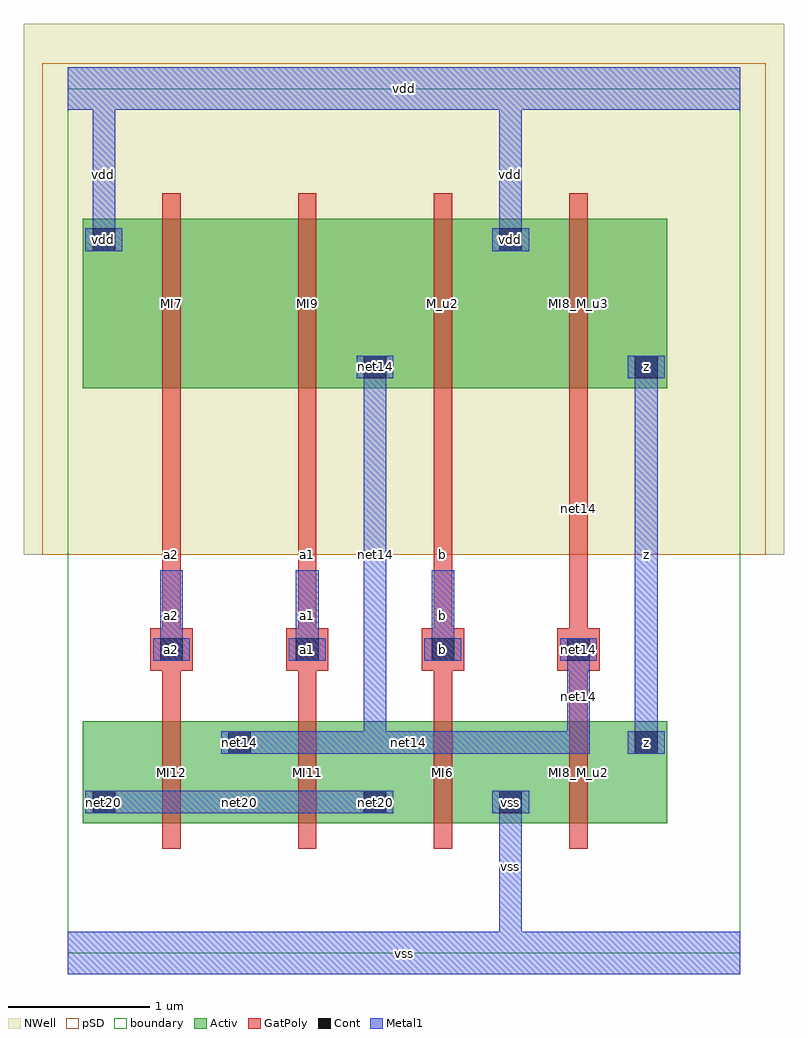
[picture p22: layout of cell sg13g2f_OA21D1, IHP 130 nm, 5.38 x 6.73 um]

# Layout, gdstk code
import gdstk
lib = gdstk.Library(unit=1e-6, precision=1e-09)
def R(c, l, rs):  # rectangles x0, y0, x1, y1
    for r in rs: c.add(gdstk.rectangle(r[:2], r[2:], *l))
def A(c, l, x, y, w, h, nx, ny, dx, dy):  # array of equal rectangles
    R(c, l, [(x+i*dx, y+j*dy, x+i*dx+w, y+j*dy+h) for i in range(nx) for j in range(ny)])
Activ = (1, 0)
GatPoly = (5, 0)
Cont = (6, 0)
Metal1 = (8, 0)
pSD = (14, 0)
NWell = (31, 0)
TEXT = (63, 0)
boundary = (189, 4)

sg13g2f_oa21d1 = lib.new_cell('sg13g2f_OA21D1')
A(sg13g2f_oa21d1, Activ, 0.105, 0.92, 1.26, 0.72, 4, 1, 0.96, 0)
A(sg13g2f_oa21d1, Activ, 0.105, 4, 1.26, 1.2, 4, 1, 0.96, 0)
R(sg13g2f_oa21d1, Activ, [(0.105,0.92,0.405,1.22), (2.025,0.92,2.325,1.22), (2.985,0.92,3.285,1.22), (1.065,1.34,1.365,1.64), (3.945,1.34,4.245,1.64), (2.025,4,2.325,4.3), (3.945,4,4.245,4.3), (0.105,4.9,0.405,5.2), (2.985,4.9,3.285,5.2)])
A(sg13g2f_oa21d1, GatPoly, 0.67, 0.74, 0.13, 1.08, 4, 1, 0.96, 0)
A(sg13g2f_oa21d1, GatPoly, 0.67, 1.425, 0.13, 2.79, 3, 1, 0.96, 0)
A(sg13g2f_oa21d1, GatPoly, 0.585, 2, 0.3, 0.3, 4, 1, 0.96, 0)
A(sg13g2f_oa21d1, GatPoly, 0.67, 3.82, 0.13, 1.56, 4, 1, 0.96, 0)
R(sg13g2f_oa21d1, GatPoly, [(3.55,1.425,3.68,2.215), (3.55,2.085,3.68,4.215)])
A(sg13g2f_oa21d1, Cont, 0.655, 2.07, 0.16, 0.16, 4, 1, 0.96, 0)
R(sg13g2f_oa21d1, Cont, [(0.175,0.99,0.335,1.15), (2.095,0.99,2.255,1.15), (3.055,0.99,3.215,1.15), (1.135,1.41,1.295,1.57), (4.015,1.41,4.175,1.57), (2.095,4.07,2.255,4.23), (4.015,4.07,4.175,4.23), (0.175,4.97,0.335,5.13), (3.055,4.97,3.215,5.13)])
A(sg13g2f_oa21d1, Metal1, 0.605, 2.07, 0.26, 0.16, 4, 1, 0.96, 0)
A(sg13g2f_oa21d1, Metal1, 0.655, 2.07, 0.16, 0.64, 3, 1, 0.96, 0)
R(sg13g2f_oa21d1, Metal1, [(0,-0.15,4.76,0.15), (3.055,0.07,3.215,1.15), (0.125,0.99,0.385,1.15), (0.175,0.99,2.255,1.15), (2.045,0.99,2.305,1.15), (3.005,0.99,3.265,1.15), (1.085,1.41,1.345,1.57), (1.135,1.41,3.695,1.57), (2.095,1.41,2.255,4.23), (3.535,1.41,3.695,2.23), (3.965,1.41,4.225,1.57), (4.015,1.41,4.175,4.23), (2.045,4.07,2.305,4.23), (3.965,4.07,4.225,4.23), (0.125,4.97,0.385,5.13), (0.175,4.97,0.335,6.05), (3.005,4.97,3.265,5.13), (3.055,4.97,3.215,6.05), (0,5.97,4.76,6.27)])
R(sg13g2f_oa21d1, pSD, [(-0.18,2.82,4.94,5.94), (-0.18,5.94,4.94,6.3)])
R(sg13g2f_oa21d1, NWell, [(-0.31,2.82,5.07,6.58)])
R(sg13g2f_oa21d1, boundary, [(0,0,4.76,6.12)])
sg13g2f_oa21d1.add(gdstk.FlexPath([(0.105,0.41),(4.245,0.41)], 0, ends="flush", simple_path=True, layer=63, datatype=0))  # TEXT
sg13g2f_oa21d1.add(gdstk.FlexPath([(0.105,1.07),(4.245,1.07)], 0, ends="flush", simple_path=True, layer=63, datatype=0))  # TEXT
sg13g2f_oa21d1.add(gdstk.FlexPath([(0.105,1.49),(4.245,1.49)], 0, ends="flush", simple_path=True, layer=63, datatype=0))  # TEXT
sg13g2f_oa21d1.add(gdstk.FlexPath([(0.105,2.15),(4.245,2.15)], 0, ends="flush", simple_path=True, layer=63, datatype=0))  # TEXT
sg13g2f_oa21d1.add(gdstk.FlexPath([(0.105,2.63),(4.245,2.63)], 0, ends="flush", simple_path=True, layer=63, datatype=0))  # TEXT
sg13g2f_oa21d1.add(gdstk.FlexPath([(0.105,3.11),(4.245,3.11)], 0, ends="flush", simple_path=True, layer=63, datatype=0))  # TEXT
sg13g2f_oa21d1.add(gdstk.FlexPath([(0.105,4.15),(4.245,4.15)], 0, ends="flush", simple_path=True, layer=63, datatype=0))  # TEXT
sg13g2f_oa21d1.add(gdstk.FlexPath([(0.105,4.71),(4.245,4.71)], 0, ends="flush", simple_path=True, layer=63, datatype=0))  # TEXT
sg13g2f_oa21d1.add(gdstk.FlexPath([(0.105,5.05),(4.245,5.05)], 0, ends="flush", simple_path=True, layer=63, datatype=0))  # TEXT
sg13g2f_oa21d1.add(gdstk.FlexPath([(0.105,5.71),(4.245,5.71)], 0, ends="flush", simple_path=True, layer=63, datatype=0))  # TEXT
sg13g2f_oa21d1.add(gdstk.FlexPath([(0.255,0.07),(0.255,6.05)], 0, ends="flush", simple_path=True, layer=63, datatype=0))  # TEXT
sg13g2f_oa21d1.add(gdstk.FlexPath([(0.735,0.07),(0.735,6.05)], 0, ends="flush", simple_path=True, layer=63, datatype=0))  # TEXT
sg13g2f_oa21d1.add(gdstk.FlexPath([(1.215,0.07),(1.215,6.05)], 0, ends="flush", simple_path=True, layer=63, datatype=0))  # TEXT
sg13g2f_oa21d1.add(gdstk.FlexPath([(1.695,0.07),(1.695,6.05)], 0, ends="flush", simple_path=True, layer=63, datatype=0))  # TEXT
sg13g2f_oa21d1.add(gdstk.FlexPath([(2.175,0.07),(2.175,6.05)], 0, ends="flush", simple_path=True, layer=63, datatype=0))  # TEXT
sg13g2f_oa21d1.add(gdstk.FlexPath([(2.655,0.07),(2.655,6.05)], 0, ends="flush", simple_path=True, layer=63, datatype=0))  # TEXT
sg13g2f_oa21d1.add(gdstk.FlexPath([(3.135,0.07),(3.135,6.05)], 0, ends="flush", simple_path=True, layer=63, datatype=0))  # TEXT
sg13g2f_oa21d1.add(gdstk.FlexPath([(3.615,0.07),(3.615,6.05)], 0, ends="flush", simple_path=True, layer=63, datatype=0))  # TEXT
sg13g2f_oa21d1.add(gdstk.FlexPath([(4.095,0.07),(4.095,6.05)], 0, ends="flush", simple_path=True, layer=63, datatype=0))  # TEXT
sg13g2f_oa21d1.add(gdstk.Label('net14', (1.215,1.49), layer=6, texttype=0))
sg13g2f_oa21d1.add(gdstk.Label('net14', (2.175,4.15), layer=6, texttype=0))
sg13g2f_oa21d1.add(gdstk.Label('net14', (3.615,2.15), layer=6, texttype=0))
sg13g2f_oa21d1.add(gdstk.Label('a2', (0.735,2.15), layer=6, texttype=0))
sg13g2f_oa21d1.add(gdstk.Label('net20', (0.255,1.07), layer=6, texttype=0))
sg13g2f_oa21d1.add(gdstk.Label('net20', (2.175,1.07), layer=6, texttype=0))
sg13g2f_oa21d1.add(gdstk.Label('a1', (1.695,2.15), layer=6, texttype=0))
sg13g2f_oa21d1.add(gdstk.Label('b', (2.655,2.15), layer=6, texttype=0))
sg13g2f_oa21d1.add(gdstk.Label('z', (4.095,1.49), layer=6, texttype=0))
sg13g2f_oa21d1.add(gdstk.Label('z', (4.095,4.15), layer=6, texttype=0))
sg13g2f_oa21d1.add(gdstk.Label('vss', (3.135,1.07), layer=6, texttype=0))
sg13g2f_oa21d1.add(gdstk.Label('vdd', (3.135,5.05), layer=6, texttype=0))
sg13g2f_oa21d1.add(gdstk.Label('vdd', (0.255,5.05), layer=6, texttype=0))
sg13g2f_oa21d1.add(gdstk.Label('net14', (1.215,1.49), layer=8, texttype=0))
sg13g2f_oa21d1.add(gdstk.Label('net14', (2.175,4.15), layer=8, texttype=0))
sg13g2f_oa21d1.add(gdstk.Label('net14', (2.415,1.49), layer=8, texttype=0))
sg13g2f_oa21d1.add(gdstk.Label('net14', (3.615,1.82), layer=8, texttype=0))
sg13g2f_oa21d1.add(gdstk.Label('net14', (3.615,2.15), layer=8, texttype=0))
sg13g2f_oa21d1.add(gdstk.Label('net14', (2.175,2.82), layer=8, texttype=0))
sg13g2f_oa21d1.add(gdstk.Label('net20', (0.255,1.07), layer=8, texttype=0))
sg13g2f_oa21d1.add(gdstk.Label('net20', (2.175,1.07), layer=8, texttype=0))
sg13g2f_oa21d1.add(gdstk.Label('net20', (1.215,1.07), layer=8, texttype=0))
sg13g2f_oa21d1.add(gdstk.Label('vss', (3.135,1.07), layer=8, texttype=0))
sg13g2f_oa21d1.add(gdstk.Label('vss', (3.135,0.61), layer=8, texttype=0))
sg13g2f_oa21d1.add(gdstk.Label('vdd', (3.135,5.05), layer=8, texttype=0))
sg13g2f_oa21d1.add(gdstk.Label('vdd', (3.135,5.51), layer=8, texttype=0))
sg13g2f_oa21d1.add(gdstk.Label('vdd', (0.255,5.05), layer=8, texttype=0))
sg13g2f_oa21d1.add(gdstk.Label('vdd', (0.255,5.51), layer=8, texttype=0))
sg13g2f_oa21d1.add(gdstk.Label('a2', (0.735,2.15), layer=8, texttype=2))
sg13g2f_oa21d1.add(gdstk.Label('a2', (0.735,2.39), layer=8, texttype=2))
sg13g2f_oa21d1.add(gdstk.Label('a1', (1.695,2.15), layer=8, texttype=2))
sg13g2f_oa21d1.add(gdstk.Label('a1', (1.695,2.39), layer=8, texttype=2))
sg13g2f_oa21d1.add(gdstk.Label('b', (2.655,2.15), layer=8, texttype=2))
sg13g2f_oa21d1.add(gdstk.Label('b', (2.655,2.39), layer=8, texttype=2))
sg13g2f_oa21d1.add(gdstk.Label('z', (4.095,1.49), layer=8, texttype=2))
sg13g2f_oa21d1.add(gdstk.Label('z', (4.095,4.15), layer=8, texttype=2))
sg13g2f_oa21d1.add(gdstk.Label('z', (4.095,2.82), layer=8, texttype=2))
sg13g2f_oa21d1.add(gdstk.Label('vss', (2.38,0), layer=8, texttype=2))
sg13g2f_oa21d1.add(gdstk.Label('vdd', (2.38,6.12), layer=8, texttype=2))
sg13g2f_oa21d1.add(gdstk.Label('a2', (0.735,2.15), layer=8, texttype=2))
sg13g2f_oa21d1.add(gdstk.Label('a2', (0.735,2.39), layer=8, texttype=2))
sg13g2f_oa21d1.add(gdstk.Label('a1', (1.695,2.15), layer=8, texttype=2))
sg13g2f_oa21d1.add(gdstk.Label('a1', (1.695,2.39), layer=8, texttype=2))
sg13g2f_oa21d1.add(gdstk.Label('b', (2.655,2.15), layer=8, texttype=2))
sg13g2f_oa21d1.add(gdstk.Label('b', (2.655,2.39), layer=8, texttype=2))
sg13g2f_oa21d1.add(gdstk.Label('z', (4.095,1.49), layer=8, texttype=2))
sg13g2f_oa21d1.add(gdstk.Label('z', (4.095,4.15), layer=8, texttype=2))
sg13g2f_oa21d1.add(gdstk.Label('z', (4.095,2.82), layer=8, texttype=2))
sg13g2f_oa21d1.add(gdstk.Label('vss', (2.38,0), layer=8, texttype=2))
sg13g2f_oa21d1.add(gdstk.Label('vdd', (2.38,6.12), layer=8, texttype=2))
sg13g2f_oa21d1.add(gdstk.Label('MI12', (0.735,1.28), layer=1, texttype=0))
sg13g2f_oa21d1.add(gdstk.Label('MI11', (1.695,1.28), layer=1, texttype=0))
sg13g2f_oa21d1.add(gdstk.Label('MI6', (2.655,1.28), layer=1, texttype=0))
sg13g2f_oa21d1.add(gdstk.Label('MI8_M_u2', (3.615,1.28), layer=1, texttype=0))
sg13g2f_oa21d1.add(gdstk.Label('MI9', (1.695,4.6), layer=1, texttype=0))
sg13g2f_oa21d1.add(gdstk.Label('MI8_M_u3', (3.615,4.6), layer=1, texttype=0))
sg13g2f_oa21d1.add(gdstk.Label('M_u2', (2.655,4.6), layer=1, texttype=0))
sg13g2f_oa21d1.add(gdstk.Label('MI7', (0.735,4.6), layer=1, texttype=0))
sg13g2f_oa21d1.add(gdstk.Label('net14', (1.215,1.49), layer=1, texttype=0))
sg13g2f_oa21d1.add(gdstk.Label('net14', (2.175,4.15), layer=1, texttype=0))
sg13g2f_oa21d1.add(gdstk.Label('net20', (0.255,1.07), layer=1, texttype=0))
sg13g2f_oa21d1.add(gdstk.Label('net20', (2.175,1.07), layer=1, texttype=0))
sg13g2f_oa21d1.add(gdstk.Label('z', (4.095,1.49), layer=1, texttype=0))
sg13g2f_oa21d1.add(gdstk.Label('z', (4.095,4.15), layer=1, texttype=0))
sg13g2f_oa21d1.add(gdstk.Label('vss', (3.135,1.07), layer=1, texttype=0))
sg13g2f_oa21d1.add(gdstk.Label('vdd', (3.135,5.05), layer=1, texttype=0))
sg13g2f_oa21d1.add(gdstk.Label('vdd', (0.255,5.05), layer=1, texttype=0))
sg13g2f_oa21d1.add(gdstk.Label('a2', (0.735,2.15), layer=8, texttype=25))
sg13g2f_oa21d1.add(gdstk.Label('a2', (0.735,2.39), layer=8, texttype=25))
sg13g2f_oa21d1.add(gdstk.Label('a1', (1.695,2.15), layer=8, texttype=25))
sg13g2f_oa21d1.add(gdstk.Label('a1', (1.695,2.39), layer=8, texttype=25))
sg13g2f_oa21d1.add(gdstk.Label('b', (2.655,2.15), layer=8, texttype=25))
sg13g2f_oa21d1.add(gdstk.Label('b', (2.655,2.39), layer=8, texttype=25))
sg13g2f_oa21d1.add(gdstk.Label('z', (4.095,1.49), layer=8, texttype=25))
sg13g2f_oa21d1.add(gdstk.Label('z', (4.095,4.15), layer=8, texttype=25))
sg13g2f_oa21d1.add(gdstk.Label('z', (4.095,2.82), layer=8, texttype=25))
sg13g2f_oa21d1.add(gdstk.Label('vss', (2.38,0), layer=8, texttype=25))
sg13g2f_oa21d1.add(gdstk.Label('vdd', (2.38,6.12), layer=8, texttype=25))
sg13g2f_oa21d1.add(gdstk.Label('net14', (3.615,2.15), layer=5, texttype=0))
sg13g2f_oa21d1.add(gdstk.Label('net14', (3.615,1.82), layer=5, texttype=0))
sg13g2f_oa21d1.add(gdstk.Label('net14', (3.615,3.15), layer=5, texttype=0))
sg13g2f_oa21d1.add(gdstk.Label('a2', (0.735,2.82), layer=5, texttype=0))
sg13g2f_oa21d1.add(gdstk.Label('a2', (0.735,2.15), layer=5, texttype=0))
sg13g2f_oa21d1.add(gdstk.Label('a1', (1.695,2.82), layer=5, texttype=0))
sg13g2f_oa21d1.add(gdstk.Label('a1', (1.695,2.15), layer=5, texttype=0))
sg13g2f_oa21d1.add(gdstk.Label('b', (2.655,2.82), layer=5, texttype=0))
sg13g2f_oa21d1.add(gdstk.Label('b', (2.655,2.15), layer=5, texttype=0))

lib.write_gds('sg13g2f_OA21D1.gds')
